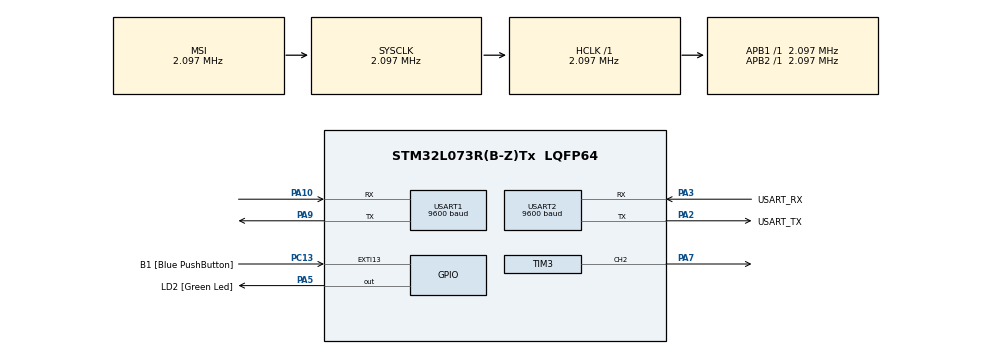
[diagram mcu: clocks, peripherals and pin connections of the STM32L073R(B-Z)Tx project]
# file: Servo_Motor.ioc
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Mcu.Family=STM32L0
Mcu.Name=STM32L073R(B-Z)Tx
Mcu.Package=LQFP64
NVIC.TIM3_IRQn=true\:0\:0\:false\:false\:true\:true\:true\:true
NVIC.USART1_IRQn=true\:0\:0\:false\:false\:true\:true\:true\:true
PA10.Mode=Asynchronous
PA10.Signal=USART1_RX
PA13.GPIO_Label=TMS
PA13.Mode=Serial_Wire
PA13.Signal=SYS_SWDIO
PA14.GPIO_Label=TCK
PA14.Mode=Serial_Wire
PA14.Signal=SYS_SWCLK
PA2.GPIO_Label=USART_TX
PA2.Mode=Asynchronous
PA2.Signal=USART2_TX
PA3.GPIO_Label=USART_RX
PA3.Mode=Asynchronous
PA3.Signal=USART2_RX
PA5.GPIO_Label=LD2 [Green Led]
PA5.Signal=GPIO_Output
PA7.Signal=S_TIM3_CH2
PA9.Mode=Asynchronous
PA9.Signal=USART1_TX
PC13.GPIO_Label=B1 [Blue PushButton]
PC13.GPIO_ModeDefaultEXTI=GPIO_MODE_IT_FALLING
PC13.Signal=GPXTI13
PC14-OSC32_IN.Mode=LSE-External-Oscillator
PC14-OSC32_IN.Signal=RCC_OSC32_IN
PC15-OSC32_OUT.Mode=LSE-External-Oscillator
PC15-OSC32_OUT.Signal=RCC_OSC32_OUT
PH0-OSC_IN.GPIO_Label=MCO
PH0-OSC_IN.Mode=HSE-External-Clock-Source
PH0-OSC_IN.Signal=RCC_OSC_IN
ProjectManager.HeapSize=0x200
ProjectManager.StackSize=0x400
ProjectManager.TargetToolchain=MDK-ARM V5.32
RCC.AHBFreq_Value=2097000
RCC.APB1Freq_Value=2097000
RCC.APB1TimFreq_Value=2097000
RCC.APB2Freq_Value=2097000
RCC.APB2TimFreq_Value=2097000
RCC.HSE_VALUE=8000000
RCC.HSI16_VALUE=16000000
RCC.HSI48_VALUE=48000000
RCC.HSI_VALUE=16000000
RCC.MSI_VALUE=2097000
RCC.SYSCLKFreq_VALUE=2097000
RCC.VCOOutputFreq_Value=48000000
SH.S_TIM3_CH2.0=TIM3_CH2,PWM Generation2 CH2
TIM3.Channel-PWM\ Generation2\ CH2=TIM_CHANNEL_2
TIM3.Period=1000-1
TIM3.Prescaler=80-1
USART1.BaudRate=9600
USART1.VirtualMode-Asynchronous=VM_ASYNC
USART2.BaudRate=9600
USART2.VirtualMode-Asynchronous=VM_ASYNC
board=NUCLEO-L073RZ

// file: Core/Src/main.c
/* USER CODE BEGIN Header */
/**
  ******************************************************************************
  * @file           : main.c
  * @brief          : Main program body
  ******************************************************************************
  * @attention
  *
  * Copyright (c) 2025 STMicroelectronics.
  * All rights reserved.
  *
  * This software is licensed under terms that can be found in the LICENSE file
  * in the root directory of this software component.
  * If no LICENSE file comes with this software, it is provided AS-IS.
  *
  ******************************************************************************
  */
/* USER CODE END Header */
#include "main.h"
#include <stdio.h>
#include <stdint.h>
/* USER CODE BEGIN Includes */
#include <stdio.h>
#include <stdint.h>
/* USER CODE END Includes */

TIM_HandleTypeDef htim3;

UART_HandleTypeDef huart1;
UART_HandleTypeDef huart2;

/* USER CODE BEGIN PV */
volatile uint8_t rxServo = 0;
/* USER CODE END PV */

void SystemClock_Config(void);
static void MX_GPIO_Init(void);
static void MX_USART2_UART_Init(void);
static void MX_TIM3_Init(void);
static void MX_USART1_UART_Init(void);
/* USER CODE BEGIN PFP */
void ServoMotor_Stop(void) {
    __HAL_TIM_SetCompare(&htim3, TIM_CHANNEL_2, 75);  // 90? (??)
}
void ServoMotor_Control(void) {
	//2ms Pwm - Servo motor arm rotates to 180 degree

		__HAL_TIM_SetCompare(&htim3, TIM_CHANNEL_2, 100);
		//HAL_Delay(1000); // 1000ms

       //1.5ms Pwm - Servo motor arm rotates to 90 degree

		__HAL_TIM_SetCompare(&htim3, TIM_CHANNEL_2, 75);
    //HAL_Delay(1000); // 1000ms

       //1ms Pwm - Servo motor arm rotates to 0 degree

    __HAL_TIM_SetCompare(&htim3, TIM_CHANNEL_2, 50);
    //HAL_Delay(1000); // 1000ms

    //ServoMotor_Stop();
}

void HAL_UART_RxCpltCallback(UART_HandleTypeDef *huart) {

    if (huart->Instance == USART1) {
			if (rxServo == '2') {
				//__HAL_TIM_SetCompare(&htim3, TIM_CHANNEL_2, 100);
				ServoMotor_Control();
      }

      HAL_UART_Receive_IT(&huart1, &rxServo, 1);  // ?? UART ???? ???
    }
}
/* USER CODE END PFP */

int main(void)
{

  /* MCU Configuration--------------------------------------------------------*/

  /* Reset of all peripherals, Initializes the Flash interface and the Systick. */
  HAL_Init();

  /* Configure the system clock */
  SystemClock_Config();

  /* Initialize all configured peripherals */
  MX_GPIO_Init();
  MX_USART2_UART_Init();
  MX_TIM3_Init();
  MX_USART1_UART_Init();
  /* USER CODE BEGIN 2 */
	HAL_TIM_PWM_Start(&htim3,TIM_CHANNEL_2);
	HAL_UART_Receive_IT(&huart1, &rxServo, 1);

	//ServoMotor_Control();

  /* USER CODE END 2 */
	//__HAL_TIM_SetCompare(&htim3, TIM_CHANNEL_2, 75);
  /* Infinite loop */
  while (1)
  {

  }
}

void SystemClock_Config(void)
{
  RCC_OscInitTypeDef RCC_OscInitStruct = {0};
  RCC_ClkInitTypeDef RCC_ClkInitStruct = {0};
  RCC_PeriphCLKInitTypeDef PeriphClkInit = {0};

  /** Configure the main internal regulator output voltage
  */
  __HAL_PWR_VOLTAGESCALING_CONFIG(PWR_REGULATOR_VOLTAGE_SCALE1);

  /** Initializes the RCC Oscillators according to the specified parameters
  * in the RCC_OscInitTypeDef structure.
  */
  RCC_OscInitStruct.OscillatorType = RCC_OSCILLATORTYPE_MSI;
  RCC_OscInitStruct.MSIState = RCC_MSI_ON;
  RCC_OscInitStruct.MSICalibrationValue = 0;
  RCC_OscInitStruct.MSIClockRange = RCC_MSIRANGE_5;
  RCC_OscInitStruct.PLL.PLLState = RCC_PLL_NONE;
  if (HAL_RCC_OscConfig(&RCC_OscInitStruct) != HAL_OK)
  {
    Error_Handler();
  }

  /** Initializes the CPU, AHB and APB buses clocks
  */
  RCC_ClkInitStruct.ClockType = RCC_CLOCKTYPE_HCLK|RCC_CLOCKTYPE_SYSCLK
                              |RCC_CLOCKTYPE_PCLK1|RCC_CLOCKTYPE_PCLK2;
  RCC_ClkInitStruct.SYSCLKSource = RCC_SYSCLKSOURCE_MSI;
  RCC_ClkInitStruct.AHBCLKDivider = RCC_SYSCLK_DIV1;
  RCC_ClkInitStruct.APB1CLKDivider = RCC_HCLK_DIV1;
  RCC_ClkInitStruct.APB2CLKDivider = RCC_HCLK_DIV1;

  if (HAL_RCC_ClockConfig(&RCC_ClkInitStruct, FLASH_LATENCY_0) != HAL_OK)
  {
    Error_Handler();
  }
  PeriphClkInit.PeriphClockSelection = RCC_PERIPHCLK_USART1|RCC_PERIPHCLK_USART2;
  PeriphClkInit.Usart1ClockSelection = RCC_USART1CLKSOURCE_PCLK2;
  PeriphClkInit.Usart2ClockSelection = RCC_USART2CLKSOURCE_PCLK1;
  if (HAL_RCCEx_PeriphCLKConfig(&PeriphClkInit) != HAL_OK)
  {
    Error_Handler();
  }
}

static void MX_TIM3_Init(void)
{

  TIM_MasterConfigTypeDef sMasterConfig = {0};
  TIM_OC_InitTypeDef sConfigOC = {0};

  htim3.Instance = TIM3;
  htim3.Init.Prescaler = 80-1;
  htim3.Init.CounterMode = TIM_COUNTERMODE_UP;
  htim3.Init.Period = 1000-1;
  htim3.Init.ClockDivision = TIM_CLOCKDIVISION_DIV1;
  htim3.Init.AutoReloadPreload = TIM_AUTORELOAD_PRELOAD_DISABLE;
  if (HAL_TIM_PWM_Init(&htim3) != HAL_OK)
  {
    Error_Handler();
  }
  sMasterConfig.MasterOutputTrigger = TIM_TRGO_RESET;
  sMasterConfig.MasterSlaveMode = TIM_MASTERSLAVEMODE_DISABLE;
  if (HAL_TIMEx_MasterConfigSynchronization(&htim3, &sMasterConfig) != HAL_OK)
  {
    Error_Handler();
  }
  sConfigOC.OCMode = TIM_OCMODE_PWM1;
  sConfigOC.Pulse = 0;
  sConfigOC.OCPolarity = TIM_OCPOLARITY_HIGH;
  sConfigOC.OCFastMode = TIM_OCFAST_DISABLE;
  if (HAL_TIM_PWM_ConfigChannel(&htim3, &sConfigOC, TIM_CHANNEL_2) != HAL_OK)
  {
    Error_Handler();
  }
  HAL_TIM_MspPostInit(&htim3);

}

static void MX_USART1_UART_Init(void)
{

  huart1.Instance = USART1;
  huart1.Init.BaudRate = 9600;
  huart1.Init.WordLength = UART_WORDLENGTH_8B;
  huart1.Init.StopBits = UART_STOPBITS_1;
  huart1.Init.Parity = UART_PARITY_NONE;
  huart1.Init.Mode = UART_MODE_TX_RX;
  huart1.Init.HwFlowCtl = UART_HWCONTROL_NONE;
  huart1.Init.OverSampling = UART_OVERSAMPLING_16;
  huart1.Init.OneBitSampling = UART_ONE_BIT_SAMPLE_DISABLE;
  huart1.AdvancedInit.AdvFeatureInit = UART_ADVFEATURE_NO_INIT;
  if (HAL_UART_Init(&huart1) != HAL_OK)
  {
    Error_Handler();
  }

}

static void MX_USART2_UART_Init(void)
{

  huart2.Instance = USART2;
  huart2.Init.BaudRate = 9600;
  huart2.Init.WordLength = UART_WORDLENGTH_8B;
  huart2.Init.StopBits = UART_STOPBITS_1;
  huart2.Init.Parity = UART_PARITY_NONE;
  huart2.Init.Mode = UART_MODE_TX_RX;
  huart2.Init.HwFlowCtl = UART_HWCONTROL_NONE;
  huart2.Init.OverSampling = UART_OVERSAMPLING_16;
  huart2.Init.OneBitSampling = UART_ONE_BIT_SAMPLE_DISABLE;
  huart2.AdvancedInit.AdvFeatureInit = UART_ADVFEATURE_NO_INIT;
  if (HAL_UART_Init(&huart2) != HAL_OK)
  {
    Error_Handler();
  }

}

static void MX_GPIO_Init(void)
{
  GPIO_InitTypeDef GPIO_InitStruct = {0};

  /* GPIO Ports Clock Enable */
  __HAL_RCC_GPIOC_CLK_ENABLE();
  __HAL_RCC_GPIOH_CLK_ENABLE();
  __HAL_RCC_GPIOA_CLK_ENABLE();

  /*Configure GPIO pin Output Level */
  HAL_GPIO_WritePin(LD2_GPIO_Port, LD2_Pin, GPIO_PIN_RESET);

  /*Configure GPIO pin : B1_Pin */
  GPIO_InitStruct.Pin = B1_Pin;
  GPIO_InitStruct.Mode = GPIO_MODE_IT_FALLING;
  GPIO_InitStruct.Pull = GPIO_NOPULL;
  HAL_GPIO_Init(B1_GPIO_Port, &GPIO_InitStruct);

  /*Configure GPIO pin : LD2_Pin */
  GPIO_InitStruct.Pin = LD2_Pin;
  GPIO_InitStruct.Mode = GPIO_MODE_OUTPUT_PP;
  GPIO_InitStruct.Pull = GPIO_NOPULL;
  GPIO_InitStruct.Speed = GPIO_SPEED_FREQ_LOW;
  HAL_GPIO_Init(LD2_GPIO_Port, &GPIO_InitStruct);

}

void Error_Handler(void)
{
  __disable_irq();
  while (1)
  {
  }
}
